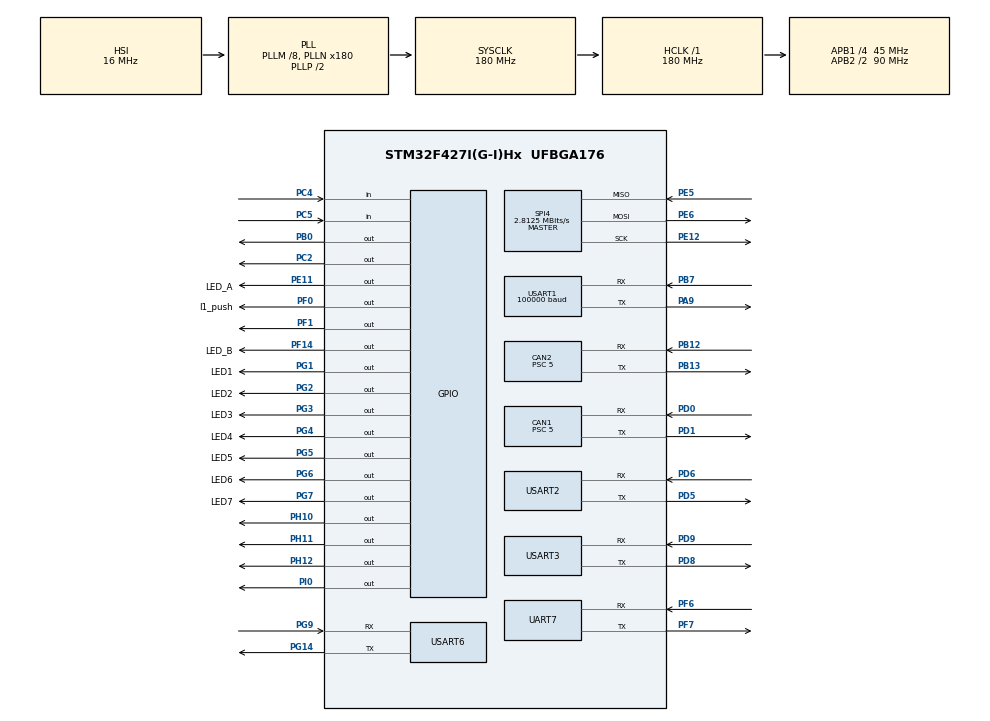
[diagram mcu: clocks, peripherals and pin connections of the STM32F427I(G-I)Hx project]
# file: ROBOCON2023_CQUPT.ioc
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CAN1.ABOM=ENABLE
CAN1.BS1=CAN_BS1_3TQ
CAN1.BS2=CAN_BS2_5TQ
CAN1.CalculateBaudRate=1000000
CAN1.CalculateTimeBit=1000
CAN1.CalculateTimeQuantum=111.11111111111111
CAN1.Prescaler=5
CAN2.ABOM=ENABLE
CAN2.BS1=CAN_BS1_3TQ
CAN2.BS2=CAN_BS2_5TQ
CAN2.CalculateBaudRate=1000000
CAN2.CalculateTimeBit=1000
CAN2.CalculateTimeQuantum=111.11111111111111
CAN2.Prescaler=5
Dma.Request0=USART1_RX
Dma.Request1=USART2_RX
Dma.Request2=USART6_RX
Dma.Request3=UART7_RX
Dma.UART7_RX.3.Direction=DMA_PERIPH_TO_MEMORY
Dma.UART7_RX.3.FIFOMode=DMA_FIFOMODE_DISABLE
Dma.UART7_RX.3.Instance=DMA1_Stream3
Dma.UART7_RX.3.MemDataAlignment=DMA_MDATAALIGN_BYTE
Dma.UART7_RX.3.MemInc=DMA_MINC_ENABLE
Dma.UART7_RX.3.Mode=DMA_NORMAL
Dma.UART7_RX.3.PeriphDataAlignment=DMA_PDATAALIGN_BYTE
Dma.UART7_RX.3.PeriphInc=DMA_PINC_DISABLE
Dma.UART7_RX.3.Priority=DMA_PRIORITY_LOW
Dma.USART1_RX.0.Direction=DMA_PERIPH_TO_MEMORY
Dma.USART1_RX.0.FIFOMode=DMA_FIFOMODE_DISABLE
Dma.USART1_RX.0.Instance=DMA2_Stream2
Dma.USART1_RX.0.MemDataAlignment=DMA_MDATAALIGN_BYTE
Dma.USART1_RX.0.MemInc=DMA_MINC_ENABLE
Dma.USART1_RX.0.Mode=DMA_CIRCULAR
Dma.USART1_RX.0.PeriphDataAlignment=DMA_PDATAALIGN_BYTE
Dma.USART1_RX.0.PeriphInc=DMA_PINC_DISABLE
Dma.USART1_RX.0.Priority=DMA_PRIORITY_MEDIUM
Dma.USART2_RX.1.Direction=DMA_PERIPH_TO_MEMORY
Dma.USART2_RX.1.FIFOMode=DMA_FIFOMODE_DISABLE
Dma.USART2_RX.1.Instance=DMA1_Stream5
Dma.USART2_RX.1.MemDataAlignment=DMA_MDATAALIGN_BYTE
Dma.USART2_RX.1.MemInc=DMA_MINC_ENABLE
Dma.USART2_RX.1.Mode=DMA_CIRCULAR
Dma.USART2_RX.1.PeriphDataAlignment=DMA_PDATAALIGN_BYTE
Dma.USART2_RX.1.PeriphInc=DMA_PINC_DISABLE
Dma.USART2_RX.1.Priority=DMA_PRIORITY_MEDIUM
Dma.USART6_RX.2.Direction=DMA_PERIPH_TO_MEMORY
Dma.USART6_RX.2.FIFOMode=DMA_FIFOMODE_DISABLE
Dma.USART6_RX.2.Instance=DMA2_Stream1
Dma.USART6_RX.2.MemDataAlignment=DMA_MDATAALIGN_BYTE
Dma.USART6_RX.2.MemInc=DMA_MINC_ENABLE
Dma.USART6_RX.2.Mode=DMA_CIRCULAR
Dma.USART6_RX.2.PeriphDataAlignment=DMA_PDATAALIGN_BYTE
Dma.USART6_RX.2.PeriphInc=DMA_PINC_DISABLE
Dma.USART6_RX.2.Priority=DMA_PRIORITY_MEDIUM
FREERTOS.Tasks01=testTask,0,128,test_task,As weak,NULL,Dynamic,NULL,NULL;chassisTask,-3,128,chassis_task,As external,NULL,Dynamic,NULL,NULL;ledTask,-3,128,led_task,As external,NULL,Dynamic,NULL,NULL;autoTask,-3,128,auto_task,As external,NULL,Dynamic,NULL,NULL
Mcu.Family=STM32F4
Mcu.Name=STM32F427I(G-I)Hx
Mcu.Package=UFBGA176
NVIC.CAN1_RX0_IRQn=true\:5\:0\:false\:false\:true\:true\:true\:true\:true
NVIC.CAN1_TX_IRQn=true\:5\:0\:false\:false\:true\:true\:true\:true\:true
NVIC.CAN2_RX0_IRQn=true\:5\:0\:false\:false\:true\:true\:true\:true\:true
NVIC.CAN2_TX_IRQn=true\:5\:0\:false\:false\:true\:true\:true\:true\:true
NVIC.DMA1_Stream3_IRQn=true\:5\:0\:false\:false\:true\:true\:false\:true\:true
NVIC.DMA1_Stream5_IRQn=true\:5\:0\:false\:false\:true\:true\:false\:true\:true
NVIC.DMA2_Stream1_IRQn=true\:5\:0\:false\:false\:true\:true\:false\:true\:true
NVIC.DMA2_Stream2_IRQn=true\:5\:0\:false\:false\:true\:true\:false\:true\:true
NVIC.PriorityGroup=NVIC_PRIORITYGROUP_4
NVIC.TIM2_IRQn=true\:5\:0\:false\:false\:true\:true\:true\:true\:true
NVIC.TIM3_IRQn=true\:5\:0\:false\:false\:true\:true\:true\:true\:true
NVIC.TIM8_TRG_COM_TIM14_IRQn=true\:15\:0\:false\:false\:true\:false\:false\:true\:true
NVIC.TimeBase=TIM8_TRG_COM_TIM14_IRQn
NVIC.TimeBaseIP=TIM14
NVIC.UART7_IRQn=true\:5\:0\:false\:false\:true\:true\:true\:true\:true
NVIC.USART1_IRQn=true\:5\:0\:false\:false\:true\:true\:true\:true\:true
NVIC.USART2_IRQn=true\:5\:0\:false\:false\:true\:true\:true\:true\:true
NVIC.USART6_IRQn=true\:5\:0\:false\:false\:true\:true\:true\:true\:true
PA13.Mode=Serial_Wire
PA13.Signal=SYS_JTMS-SWDIO
PA14.Mode=Serial_Wire
PA14.Signal=SYS_JTCK-SWCLK
PA9.Mode=Asynchronous
PA9.Signal=USART1_TX
PB0.Signal=GPIO_Output
PB12.Mode=CAN_Activate
PB12.Signal=CAN2_RX
PB13.Mode=CAN_Activate
PB13.Signal=CAN2_TX
PB7.Mode=Asynchronous
PB7.Signal=USART1_RX
PC2.Signal=GPIO_Output
PC4.GPIO_PuPd=GPIO_PULLDOWN
PC4.Signal=GPIO_Input
PC5.GPIO_PuPd=GPIO_PULLDOWN
PC5.Signal=GPIO_Input
PD0.Mode=CAN_Activate
PD0.Signal=CAN1_RX
PD1.Mode=CAN_Activate
PD1.Signal=CAN1_TX
PD5.Mode=Asynchronous
PD5.Signal=USART2_TX
PD6.Mode=Asynchronous
PD6.Signal=USART2_RX
PD8.Mode=Asynchronous
PD8.Signal=USART3_TX
PD9.Mode=Asynchronous
PD9.Signal=USART3_RX
PE11.GPIO_Label=LED_A
PE11.GPIO_PuPd=GPIO_PULLDOWN
PE11.Signal=GPIO_Output
PE12.Mode=Full_Duplex_Master
PE12.Signal=SPI4_SCK
PE5.Mode=Full_Duplex_Master
PE5.Signal=SPI4_MISO
PE6.Mode=Full_Duplex_Master
PE6.Signal=SPI4_MOSI
PF0.GPIO_Label=I1_push
PF0.Signal=GPIO_Output
PF1.Signal=GPIO_Output
PF14.GPIO_Label=LED_B
PF14.GPIO_PuPd=GPIO_PULLDOWN
PF14.Signal=GPIO_Output
PF6.Mode=Asynchronous
PF6.Signal=UART7_RX
PF7.Mode=Asynchronous
PF7.Signal=UART7_TX
PG1.GPIO_Label=LED1
PG1.GPIO_PuPd=GPIO_PULLDOWN
PG1.Signal=GPIO_Output
PG14.Mode=Asynchronous
PG14.Signal=USART6_TX
PG2.GPIO_Label=LED2
PG2.GPIO_PuPd=GPIO_PULLDOWN
PG2.Signal=GPIO_Output
PG3.GPIO_Label=LED3
PG3.GPIO_PuPd=GPIO_PULLDOWN
PG3.Signal=GPIO_Output
PG4.GPIO_Label=LED4
PG4.GPIO_PuPd=GPIO_PULLDOWN
PG4.Signal=GPIO_Output
PG5.GPIO_Label=LED5
PG5.GPIO_PuPd=GPIO_PULLDOWN
PG5.Signal=GPIO_Output
PG6.GPIO_Label=LED6
PG6.GPIO_PuPd=GPIO_PULLDOWN
PG6.Signal=GPIO_Output
PG7.GPIO_Label=LED7
PG7.GPIO_PuPd=GPIO_PULLDOWN
PG7.Signal=GPIO_Output
PG9.Mode=Asynchronous
PG9.Signal=USART6_RX
PH0/OSC_IN.Mode=HSE-External-Oscillator
PH0/OSC_IN.Signal=RCC_OSC_IN
PH1/OSC_OUT.Mode=HSE-External-Oscillator
PH1/OSC_OUT.Signal=RCC_OSC_OUT
PH10.PinState=GPIO_PIN_SET
PH10.Signal=GPIO_Output
PH11.PinState=GPIO_PIN_SET
PH11.Signal=GPIO_Output
PH12.PinState=GPIO_PIN_SET
PH12.Signal=GPIO_Output
PI0.PinState=GPIO_PIN_SET
PI0.Signal=GPIO_Output
ProjectManager.HeapSize=0x200
ProjectManager.StackSize=0x400
ProjectManager.TargetToolchain=MDK-ARM V5.32
RCC.48MHZClocksFreq_Value=90000000
RCC.AHBFreq_Value=180000000
RCC.APB1CLKDivider=RCC_HCLK_DIV4
RCC.APB1Freq_Value=45000000
RCC.APB1TimFreq_Value=90000000
RCC.APB2CLKDivider=RCC_HCLK_DIV2
RCC.APB2Freq_Value=90000000
RCC.APB2TimFreq_Value=180000000
RCC.CortexFreq_Value=180000000
RCC.HCLKFreq_Value=180000000
RCC.HSE_VALUE=25000000
RCC.HSI_VALUE=16000000
RCC.LSE_VALUE=32768
RCC.PLLM=8
RCC.PLLN=180
RCC.SYSCLKFreq_VALUE=180000000
RCC.SYSCLKSource=RCC_SYSCLKSOURCE_PLLCLK
RCC.VCOOutputFreq_Value=360000000
SPI4.BaudRatePrescaler=SPI_BAUDRATEPRESCALER_32
SPI4.CLKPhase=SPI_PHASE_2EDGE
SPI4.CalculateBaudRate=2.8125 MBits/s
SPI4.DataSize=SPI_DATASIZE_16BIT
SPI4.Direction=SPI_DIRECTION_2LINES
SPI4.Mode=SPI_MODE_MASTER
SPI4.VirtualType=VM_MASTER
TIM2.Period=100000-1
TIM2.Prescaler=1800-1
TIM3.Period=20000-1
TIM3.Prescaler=180-1
UART7.VirtualMode=Asynchronous
USART1.BaudRate=100000
USART1.VirtualMode=VM_ASYNC
USART2.VirtualMode=VM_ASYNC
USART3.VirtualMode=VM_ASYNC
USART6.VirtualMode=VM_ASYNC
VP_FREERTOS_VS_CMSIS_V1.Mode=CMSIS_V1
VP_SYS_VS_tim14.Mode=TIM14
VP_TIM2_VS_ClockSourceINT.Mode=Internal
VP_TIM3_VS_ClockSourceINT.Mode=Internal
board=custom

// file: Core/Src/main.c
/* USER CODE BEGIN Header */
/**
  ******************************************************************************
  * @file           : main.c
  * @brief          : Main program body
  ******************************************************************************
  * @attention
  *
  * Copyright (c) 2023 STMicroelectronics.
  * All rights reserved.
  *
  * This software is licensed under terms that can be found in the LICENSE file
  * in the root directory of this software component.
  * If no LICENSE file comes with this software, it is provided AS-IS.
  *
  ******************************************************************************
  */
/* USER CODE END Header */
#include "main.h"
#include "cmsis_os.h"
#include "can.h"
#include "dma.h"
#include "spi.h"
#include "tim.h"
#include "usart.h"
#include "gpio.h"

/* USER CODE BEGIN Includes */
#include "bsp_can.h"
#include "bsp_sbus.h"
#include "stdio.h"
//重写printf
int fputc(int ch,FILE *f)
{
    uint8_t temp[1]= {ch};
    HAL_UART_Transmit(&huart6,temp,1,2);
}

#define BUFFERSIZE 255	//可接收的最大数据量
uint8_t Rx_len_Huart7;//串口6接收长度
uint8_t ReceiveBuff_Huart7[BUFFERSIZE]; //串口6接收缓冲区
float pos_x=0;//坐标X--ZBx
float pos_y=0;//坐标Y--ZBy
float zangle=0;//航向角
float xangle=0;//俯仰角
float yangle=0;//横滚角
float w_z=0;//航向角速

float set_pos_x;
float set_pos_y;
float set_zangle;
int move_flag;
uint8_t shot_flag=0;
//串口屏 串口2
uint8_t Rx_len_Huart2;//串口2接收长度
uint8_t ReceiveBuff_Huart2[BUFFERSIZE]; //串口2接收缓冲区

/* USER CODE END Includes */

void SystemClock_Config(void);
void MX_FREERTOS_Init(void);

int main(void)
{

  /* MCU Configuration--------------------------------------------------------*/

  /* Reset of all peripherals, Initializes the Flash interface and the Systick. */
  HAL_Init();

  /* Configure the system clock */
  SystemClock_Config();

  /* Initialize all configured peripherals */
  MX_GPIO_Init();
  MX_DMA_Init();
  MX_CAN1_Init();
  MX_CAN2_Init();
  MX_SPI4_Init();
  MX_USART1_UART_Init();
  MX_USART2_UART_Init();
  MX_USART3_UART_Init();
  MX_USART6_UART_Init();
  MX_UART7_Init();
  MX_TIM2_Init();
  MX_TIM3_Init();
  /* USER CODE BEGIN 2 */
  dbus_uart_init();
  my_can_filter_init_recv_all(&hcan1);
  can_filter_recv_special(&hcan2);
	HAL_TIM_Base_Start_IT(&htim2);
  /* USER CODE END 2 */

  /* Call init function for freertos objects (in freertos.c) */
  MX_FREERTOS_Init();

  /* Start scheduler */
  osKernelStart();

  /* We should never get here as control is now taken by the scheduler */
  /* Infinite loop */
  while (1)
  {

  }
}

void SystemClock_Config(void)
{
  RCC_OscInitTypeDef RCC_OscInitStruct = {0};
  RCC_ClkInitTypeDef RCC_ClkInitStruct = {0};

  /** Configure the main internal regulator output voltage
  */
  __HAL_RCC_PWR_CLK_ENABLE();
  __HAL_PWR_VOLTAGESCALING_CONFIG(PWR_REGULATOR_VOLTAGE_SCALE1);

  /** Initializes the RCC Oscillators according to the specified parameters
  * in the RCC_OscInitTypeDef structure.
  */
  RCC_OscInitStruct.OscillatorType = RCC_OSCILLATORTYPE_HSI;
  RCC_OscInitStruct.HSIState = RCC_HSI_ON;
  RCC_OscInitStruct.HSICalibrationValue = RCC_HSICALIBRATION_DEFAULT;
  RCC_OscInitStruct.PLL.PLLState = RCC_PLL_ON;
  RCC_OscInitStruct.PLL.PLLSource = RCC_PLLSOURCE_HSI;
  RCC_OscInitStruct.PLL.PLLM = 8;
  RCC_OscInitStruct.PLL.PLLN = 180;
  RCC_OscInitStruct.PLL.PLLP = RCC_PLLP_DIV2;
  RCC_OscInitStruct.PLL.PLLQ = 4;
  if (HAL_RCC_OscConfig(&RCC_OscInitStruct) != HAL_OK)
  {
    Error_Handler();
  }

  /** Activate the Over-Drive mode
  */
  if (HAL_PWREx_EnableOverDrive() != HAL_OK)
  {
    Error_Handler();
  }

  /** Initializes the CPU, AHB and APB buses clocks
  */
  RCC_ClkInitStruct.ClockType = RCC_CLOCKTYPE_HCLK|RCC_CLOCKTYPE_SYSCLK
                              |RCC_CLOCKTYPE_PCLK1|RCC_CLOCKTYPE_PCLK2;
  RCC_ClkInitStruct.SYSCLKSource = RCC_SYSCLKSOURCE_PLLCLK;
  RCC_ClkInitStruct.AHBCLKDivider = RCC_SYSCLK_DIV1;
  RCC_ClkInitStruct.APB1CLKDivider = RCC_HCLK_DIV4;
  RCC_ClkInitStruct.APB2CLKDivider = RCC_HCLK_DIV2;

  if (HAL_RCC_ClockConfig(&RCC_ClkInitStruct, FLASH_LATENCY_5) != HAL_OK)
  {
    Error_Handler();
  }
}

void HAL_TIM_PeriodElapsedCallback(TIM_HandleTypeDef *htim)
{
  if (htim->Instance == TIM14) {
    HAL_IncTick();
  }
  /* USER CODE BEGIN Callback 1 */
 if(htim->Instance == TIM2)
 {
//	 printf("jims\r\n");
	 if(shot_flag == 1)
		 shot_flag = 0;
	 else
		 shot_flag = 0;
 }
  /* USER CODE END Callback 1 */
}

void Error_Handler(void)
{
  __disable_irq();
  while (1)
  {
  }
}

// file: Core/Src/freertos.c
/* USER CODE BEGIN Header */
/**
  ******************************************************************************
  * File Name          : freertos.c
  * Description        : Code for freertos applications
  ******************************************************************************
  * @attention
  *
  * Copyright (c) 2023 STMicroelectronics.
  * All rights reserved.
  *
  * This software is licensed under terms that can be found in the LICENSE file
  * in the root directory of this software component.
  * If no LICENSE file comes with this software, it is provided AS-IS.
  *
  ******************************************************************************
  */
/* USER CODE END Header */

#include "FreeRTOS.h"
#include "task.h"
#include "main.h"
#include "cmsis_os.h"

osThreadId testTaskHandle;
osThreadId chassisTaskHandle;
osThreadId ledTaskHandle;
osThreadId autoTaskHandle;

void test_task(void const * argument);
extern void chassis_task(void const * argument);
extern void led_task(void const * argument);
extern void auto_task(void const * argument);

void MX_FREERTOS_Init(void); /* (MISRA C 2004 rule 8.1) */

/* GetIdleTaskMemory prototype (linked to static allocation support) */
void vApplicationGetIdleTaskMemory( StaticTask_t **ppxIdleTaskTCBBuffer, StackType_t **ppxIdleTaskStackBuffer, uint32_t *pulIdleTaskStackSize );

/* USER CODE BEGIN GET_IDLE_TASK_MEMORY */
static StaticTask_t xIdleTaskTCBBuffer;
static StackType_t xIdleStack[configMINIMAL_STACK_SIZE];

void vApplicationGetIdleTaskMemory( StaticTask_t **ppxIdleTaskTCBBuffer, StackType_t **ppxIdleTaskStackBuffer, uint32_t *pulIdleTaskStackSize )
{
  *ppxIdleTaskTCBBuffer = &xIdleTaskTCBBuffer;
  *ppxIdleTaskStackBuffer = &xIdleStack[0];
  *pulIdleTaskStackSize = configMINIMAL_STACK_SIZE;
  /* place for user code */
}
/* USER CODE END GET_IDLE_TASK_MEMORY */

void MX_FREERTOS_Init(void) {

  /* Create the thread(s) */
  /* definition and creation of testTask */
  osThreadDef(testTask, test_task, osPriorityNormal, 0, 128);
  testTaskHandle = osThreadCreate(osThread(testTask), NULL);

  /* definition and creation of chassisTask */
  osThreadDef(chassisTask, chassis_task, osPriorityIdle, 0, 128);
  chassisTaskHandle = osThreadCreate(osThread(chassisTask), NULL);

  /* definition and creation of ledTask */
  osThreadDef(ledTask, led_task, osPriorityIdle, 0, 128);
  ledTaskHandle = osThreadCreate(osThread(ledTask), NULL);

  /* definition and creation of autoTask */
  osThreadDef(autoTask, auto_task, osPriorityIdle, 0, 128);
  autoTaskHandle = osThreadCreate(osThread(autoTask), NULL);

}

__weak void test_task(void const * argument)
{
  for(;;)
  {
    osDelay(1);
  }
}
